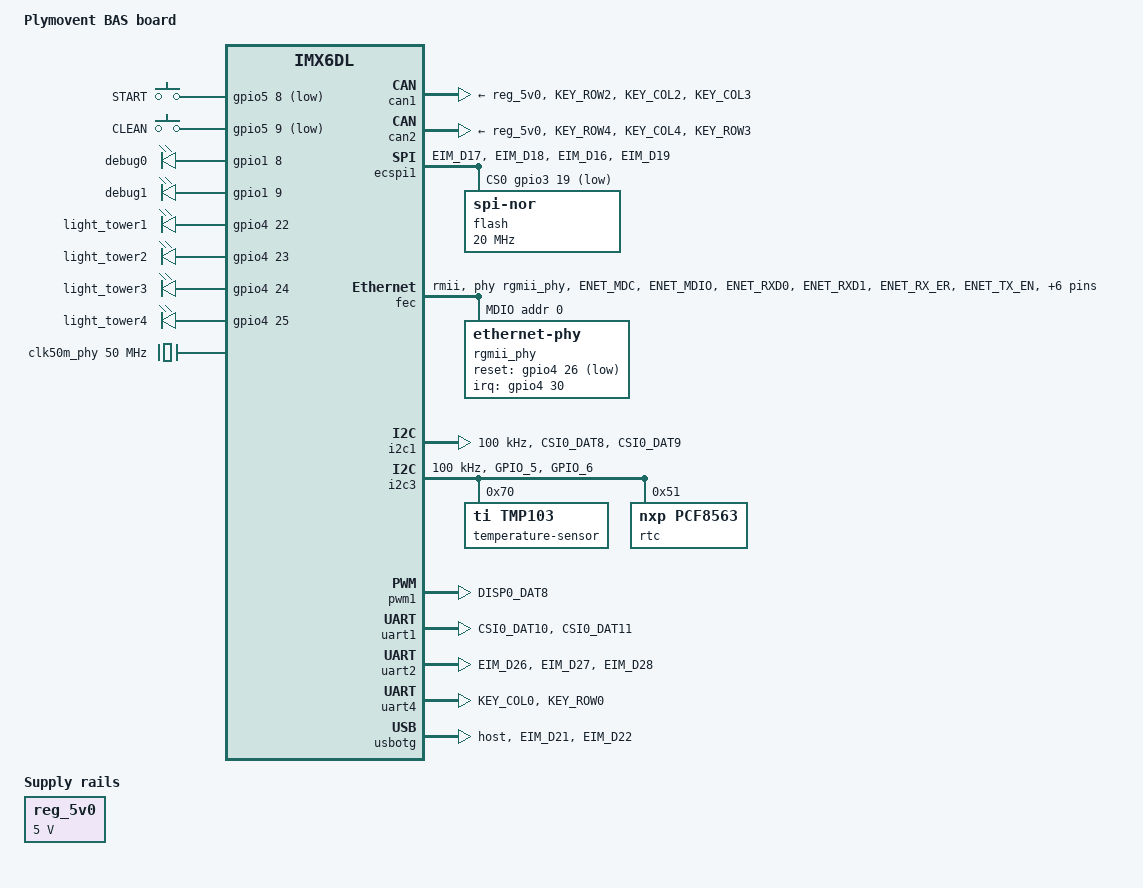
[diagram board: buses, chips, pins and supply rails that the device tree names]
// SPDX-License-Identifier: GPL-2.0-or-later OR MIT
/*
 * Copyright (c) 2014 Protonic Holland
 * Copyright (c) 2020 Oleksij Rempel <kernel@pengutronix.de>, Pengutronix
 */

/dts-v1/;
#include <dt-bindings/gpio/gpio.h>
#include <dt-bindings/leds/common.h>
#include "imx6dl.dtsi"

/ {
	model = "Plymovent BAS board";
	compatible = "ply,plybas", "fsl,imx6dl";

	chosen {
		stdout-path = &uart4;
	};

	gpio_keys {
		compatible = "gpio-keys";
		autorepeat;

		button-start {
			label = "START";
			linux,code = <31>;
			gpios = <&gpio5 8 GPIO_ACTIVE_LOW>;
		};

		button-clean {
			label = "CLEAN";
			linux,code = <46>;
			gpios = <&gpio5 9 GPIO_ACTIVE_LOW>;
		};
	};

	leds {
		compatible = "gpio-leds";
		pinctrl-names = "default";
		pinctrl-0 = <&pinctrl_leds>;

		led-0 {
			label = "debug0";
			gpios = <&gpio1 8 GPIO_ACTIVE_HIGH>;
		};

		led-1 {
			label = "debug1";
			gpios = <&gpio1 9 GPIO_ACTIVE_HIGH>;
		};

		led-2 {
			label = "light_tower1";
			gpios = <&gpio4 22 GPIO_ACTIVE_HIGH>;
			linux,default-trigger = "heartbeat";
		};

		led-3 {
			label = "light_tower2";
			gpios = <&gpio4 23 GPIO_ACTIVE_HIGH>;
		};

		led-4 {
			label = "light_tower3";
			gpios = <&gpio4 24 GPIO_ACTIVE_HIGH>;
		};

		led-5 {
			label = "light_tower4";
			gpios = <&gpio4 25 GPIO_ACTIVE_HIGH>;
		};
	};

	clk50m_phy: phy-clock {
		compatible = "fixed-clock";
		#clock-cells = <0>;
		clock-frequency = <50000000>;
		clock-output-names = "enet_ref_pad";
	};

	reg_5v0: regulator-5v0 {
		compatible = "regulator-fixed";
		regulator-name = "5v0";
		regulator-min-microvolt = <5000000>;
		regulator-max-microvolt = <5000000>;
	};
};

&can1 {
	pinctrl-names = "default";
	pinctrl-0 = <&pinctrl_can1>;
	xceiver-supply = <&reg_5v0>;
	status = "okay";
};

&can2 {
	pinctrl-names = "default";
	pinctrl-0 = <&pinctrl_can2>;
	xceiver-supply = <&reg_5v0>;
	status = "okay";
};

&clks {
	clocks = <&clk50m_phy>;
	clock-names = "enet_ref_pad";
	assigned-clocks = <&clks IMX6QDL_CLK_ENET_REF_SEL>;
	assigned-clock-parents = <&clk50m_phy>;
};

&ecspi1 {
	cs-gpios = <&gpio3 19 GPIO_ACTIVE_LOW>;
	pinctrl-names = "default";
	pinctrl-0 = <&pinctrl_ecspi1>;
	status = "okay";

	flash@0 {
		compatible = "jedec,spi-nor";
		reg = <0>;
		spi-max-frequency = <20000000>;
	};
};

&fec {
	pinctrl-names = "default";
	pinctrl-0 = <&pinctrl_enet>;
	phy-mode = "rmii";
	phy-handle = <&rgmii_phy>;
	status = "okay";

	mdio {
		#address-cells = <1>;
		#size-cells = <0>;

		/* Microchip KSZ8081RNA PHY */
		rgmii_phy: ethernet-phy@0 {
			reg = <0>;
			interrupts-extended = <&gpio4 30 IRQ_TYPE_LEVEL_LOW>;
			reset-gpios = <&gpio4 26 GPIO_ACTIVE_LOW>;
			reset-assert-us = <10000>;
			reset-deassert-us = <300>;
		};
	};
};

&gpio1 {
	gpio-line-names =
		"", "SD1_CD", "", "", "", "", "", "",
		"DEBUG_0", "DEBUG_1", "", "", "", "", "", "",
		"", "", "", "", "", "", "", "",
		"", "", "", "", "", "", "", "";
};

&gpio3 {
	gpio-line-names =
		"", "", "", "", "", "", "", "",
		"", "", "", "", "", "", "", "",
		"", "", "", "ECSPI1_SS1", "", "USB_EXT_PWR", "", "",
		"", "", "", "", "", "", "", "";
};

&gpio4 {
	gpio-line-names =
		"", "", "", "", "", "", "", "",
		"", "", "", "", "CAN1_SR", "CAN2_SR", "", "",
		"LED_DI0_DEBUG_0", "LED_DI0_DEBUG_1", "IMX6_IN12", "IMX6_HMI",
			"IMX6_IN11", "IMX6_BUZZER", "IMX6_LED1", "IMX6_LED2",
		"IMX6_LED3", "IMX6_LED4", "ETH_RESET", "IMX6_ANA_OUT_SD",
			"IMX6_ANA_OUT_ERR", "IMX6_ANA_OUT", "ETH_INTRP", "";
};

&gpio5 {
	gpio-line-names =
		"", "", "", "", "", "IMX6_RELAY1", "IMX6_RELAY2", "",
		"IMX6_IN1", "IMX6_IN2", "IMX6_IN3", "IMX6_IN4", "IMX6_IN5",
			"IMX6_IN6", "IMX6_IN7", "IMX6_IN8",
		"IMX6_IN9", "IMX6_IN10", "", "", "", "", "", "",
		"", "", "", "", "", "", "", "";
};

&i2c1 {
	clock-frequency = <100000>;
	pinctrl-names = "default";
	pinctrl-0 = <&pinctrl_i2c1>;
	status = "okay";

	/* additional i2c devices are added automatically by the boot loader */
};

&i2c3 {
	clock-frequency = <100000>;
	pinctrl-names = "default";
	pinctrl-0 = <&pinctrl_i2c3>;
	status = "okay";

	temperature-sensor@70 {
		compatible = "ti,tmp103";
		reg = <0x70>;
	};

	rtc@51 {
		compatible = "nxp,pcf8563";
		reg = <0x51>;
	};
};

&pwm1 {
	pinctrl-names = "default";
	pinctrl-0 = <&pinctrl_pwm1>;
	status = "okay";
};

&uart1 {
	pinctrl-names = "default";
	pinctrl-0 = <&pinctrl_uart1>;
	status = "okay";
};

&uart2 {
	pinctrl-names = "default";
	pinctrl-0 = <&pinctrl_uart2>;
	uart-has-rtscts;
	linux,rs485-enabled-at-boot-time;
	rs485-rts-delay = <0 20>;
	status = "okay";
};

&uart4 {
	pinctrl-names = "default";
	pinctrl-0 = <&pinctrl_uart4>;
	status = "okay";
};

&usbotg {
	pinctrl-names = "default";
	pinctrl-0 = <&pinctrl_usbotg>;
	phy_type = "utmi";
	dr_mode = "host";
	disable-over-current;
	status = "okay";
};

&usbphynop1 {
	status = "disabled";
};

&usbphynop2 {
	status = "disabled";
};

&iomuxc {
	pinctrl_can1: can1grp {
		fsl,pins = <
			MX6QDL_PAD_KEY_ROW2__FLEXCAN1_RX		0x1b000
			MX6QDL_PAD_KEY_COL2__FLEXCAN1_TX		0x3008
			/* CAN1_SR */
			MX6QDL_PAD_KEY_COL3__GPIO4_IO12			0x13008
		>;
	};

	pinctrl_can2: can2grp {
		fsl,pins = <
			MX6QDL_PAD_KEY_ROW4__FLEXCAN2_RX		0x1b000
			MX6QDL_PAD_KEY_COL4__FLEXCAN2_TX		0x3008
			/* CAN2_SR */
			MX6QDL_PAD_KEY_ROW3__GPIO4_IO13			0x13008
		>;
	};

	pinctrl_ecspi1: ecspi1grp {
		fsl,pins = <
			MX6QDL_PAD_EIM_D17__ECSPI1_MISO			0x1b000
			MX6QDL_PAD_EIM_D18__ECSPI1_MOSI			0x3008
			MX6QDL_PAD_EIM_D16__ECSPI1_SCLK			0x3008
			/* CS */
			MX6QDL_PAD_EIM_D19__GPIO3_IO19			0x3008
		>;
	};

	pinctrl_enet: enetgrp {
		fsl,pins = <
			/* MX6QDL_ENET_PINGRP4 */
			MX6QDL_PAD_ENET_MDC__ENET_MDC			0x1b0b0
			MX6QDL_PAD_ENET_MDIO__ENET_MDIO			0x1b0b0
			MX6QDL_PAD_ENET_RXD0__ENET_RX_DATA0		0x1b0b0
			MX6QDL_PAD_ENET_RXD1__ENET_RX_DATA1		0x1b0b0
			MX6QDL_PAD_ENET_RX_ER__ENET_RX_ER		0x1b0b0
			MX6QDL_PAD_ENET_TX_EN__ENET_TX_EN		0x1b0b0
			MX6QDL_PAD_ENET_TXD0__ENET_TX_DATA0		0x1b0b0
			MX6QDL_PAD_ENET_TXD1__ENET_TX_DATA1		0x1b0b0
			MX6QDL_PAD_ENET_CRS_DV__ENET_RX_EN		0x1b0b0

			MX6QDL_PAD_GPIO_16__ENET_REF_CLK		0x1b0b0
			/* Phy reset */
			MX6QDL_PAD_DISP0_DAT5__GPIO4_IO26		0x1b0b0
			/* nINTRP */
			MX6QDL_PAD_DISP0_DAT9__GPIO4_IO30		0x1b0b0
		>;
	};

	pinctrl_i2c1: i2c1grp {
		fsl,pins = <
			MX6QDL_PAD_CSI0_DAT8__I2C1_SDA			0x4001f8b1
			MX6QDL_PAD_CSI0_DAT9__I2C1_SCL			0x4001f8b1
		>;
	};

	pinctrl_i2c3: i2c3grp {
		fsl,pins = <
			MX6QDL_PAD_GPIO_5__I2C3_SCL			0x4001b8b1
			MX6QDL_PAD_GPIO_6__I2C3_SDA			0x4001b8b1
		>;
	};

	pinctrl_leds: ledsgrp {
		fsl,pins = <
			/* DEBUG_0 */
			MX6QDL_PAD_GPIO_8__GPIO1_IO08			0x1b0b0
			/* DEBUG_1 */
			MX6QDL_PAD_GPIO_9__GPIO1_IO09			0x1b0b0

			/* LED1 (lighttower) */
			MX6QDL_PAD_DISP0_DAT1__GPIO4_IO22		0x13070
			/* LED2 (lighttower) */
			MX6QDL_PAD_DISP0_DAT2__GPIO4_IO23		0x13070
			/* LED3 (lighttower) */
			MX6QDL_PAD_DISP0_DAT3__GPIO4_IO24		0x13070
			/* LED4 (lighttower) */
			MX6QDL_PAD_DISP0_DAT4__GPIO4_IO25		0x13070
		>;
	};

	pinctrl_pwm1: pwm1grp {
		fsl,pins = <
			MX6QDL_PAD_DISP0_DAT8__PWM1_OUT			0x1b0b0
		>;
	};

	/* YaCO AUX Uart */
	pinctrl_uart1: uart1grp {
		fsl,pins = <
			MX6QDL_PAD_CSI0_DAT10__UART1_TX_DATA		0x1b0b1
			MX6QDL_PAD_CSI0_DAT11__UART1_RX_DATA		0x1b0b1
		>;
	};

	pinctrl_uart2: uart2grp {
		fsl,pins = <
			MX6QDL_PAD_EIM_D26__UART2_TX_DATA		0x1b0b1
			MX6QDL_PAD_EIM_D27__UART2_RX_DATA		0x1b0b1
			MX6QDL_PAD_EIM_D28__UART2_DTE_CTS_B		0x130b1
		>;
	};

	pinctrl_uart4: uart4grp {
		fsl,pins = <
			MX6QDL_PAD_KEY_COL0__UART4_TX_DATA		0x1b0b1
			MX6QDL_PAD_KEY_ROW0__UART4_RX_DATA		0x1b0b1
		>;
	};

	pinctrl_usbotg: usbotggrp {
		fsl,pins = <
			MX6QDL_PAD_EIM_D21__USB_OTG_OC			0x1b0b0
			/* power enable, high active */
			MX6QDL_PAD_EIM_D22__GPIO3_IO22			0x1b0b0
		>;
	};

	pinctrl_usdhc1: usdhc1grp {
		fsl,pins = <
			MX6QDL_PAD_SD1_CMD__SD1_CMD			0x170f9
			MX6QDL_PAD_SD1_CLK__SD1_CLK			0x100f9
			MX6QDL_PAD_SD1_DAT0__SD1_DATA0			0x170f9
			MX6QDL_PAD_SD1_DAT1__SD1_DATA1			0x170f9
			MX6QDL_PAD_SD1_DAT2__SD1_DATA2			0x170f9
			MX6QDL_PAD_SD1_DAT3__SD1_DATA3			0x170f9
			MX6QDL_PAD_GPIO_1__GPIO1_IO01			0x1b0b0
		>;
	};

	pinctrl_usdhc3: usdhc3grp {
		fsl,pins = <
			MX6QDL_PAD_SD3_CMD__SD3_CMD			0x17099
			MX6QDL_PAD_SD3_CLK__SD3_CLK			0x10099
			MX6QDL_PAD_SD3_DAT0__SD3_DATA0			0x17099
			MX6QDL_PAD_SD3_DAT1__SD3_DATA1			0x17099
			MX6QDL_PAD_SD3_DAT2__SD3_DATA2			0x17099
			MX6QDL_PAD_SD3_DAT3__SD3_DATA3			0x17099
			MX6QDL_PAD_SD3_DAT4__SD3_DATA4			0x17099
			MX6QDL_PAD_SD3_DAT5__SD3_DATA5			0x17099
			MX6QDL_PAD_SD3_DAT6__SD3_DATA6			0x17099
			MX6QDL_PAD_SD3_DAT7__SD3_DATA7			0x17099
			MX6QDL_PAD_SD3_RST__SD3_RESET			0x1b0b1
		>;
	};
};
